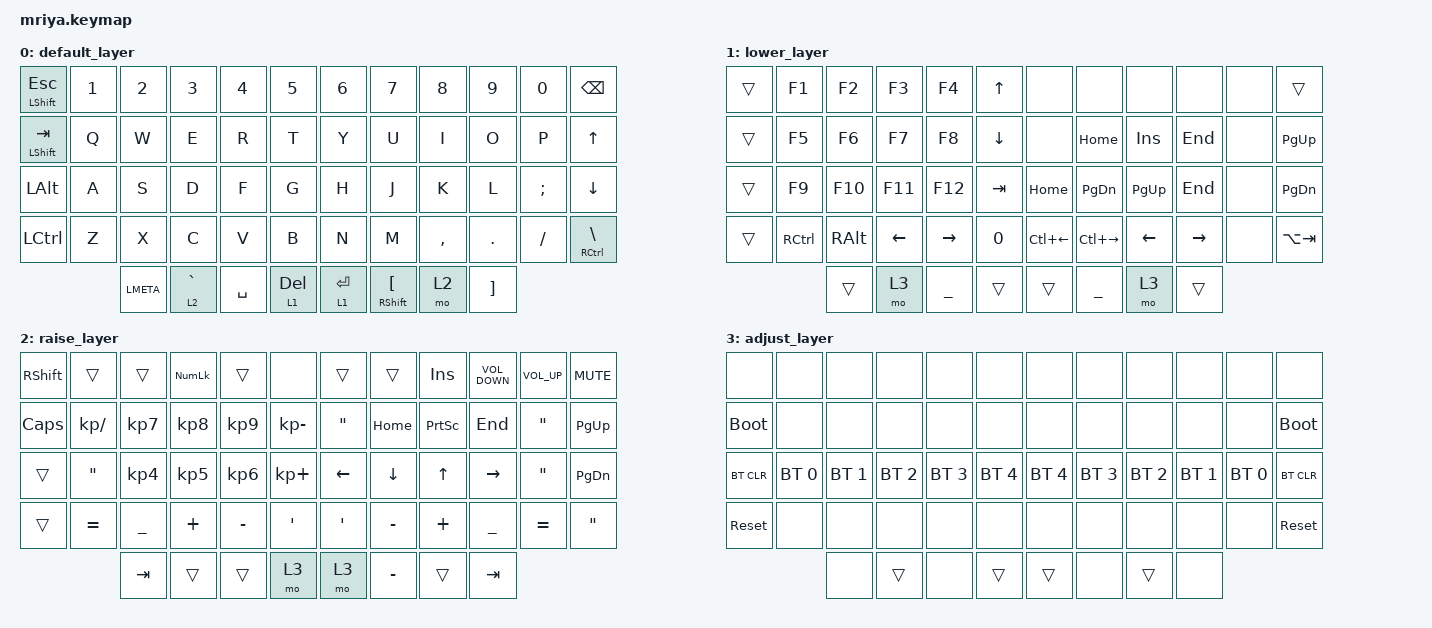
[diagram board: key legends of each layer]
/*
 * Copyright (c) 2023 Andrei Gaevskii
 *
 * SPDX-License-Identifier: MIT
 */

#include <behaviors.dtsi>
#include <dt-bindings/zmk/bt.h>
#include <dt-bindings/zmk/keys.h>

#define DEF 0
#define LWR 1
#define RSE 2
#define ADJ 3

&lt { quick_tap_ms = <200>; };

&mt { quick_tap_ms = <200>; };

/ {
    keymap {
        compatible = "zmk,keymap";

        default_layer {
            bindings = <
  &mt LEFT_SHIFT ESCAPE  &kp N1  &kp N2     &kp N3       &kp N4     &kp N5          &kp N6       &kp N7                        &kp N8     &kp N9             &kp N0    &kp BACKSPACE
  &mt LEFT_SHIFT TAB     &kp Q   &kp W      &kp E        &kp R      &kp T           &kp Y        &kp U                         &kp I      &kp O              &kp P     &kp UP
  &kp LEFT_ALT           &kp A   &kp S      &kp D        &kp F      &kp G           &kp H        &kp J                         &kp K      &kp L              &kp SEMI  &kp DOWN
  &kp LCTRL              &kp Z   &kp X      &kp C        &kp V      &kp B           &kp N        &kp M                         &kp COMMA  &kp DOT            &kp FSLH  &mt RCTRL BACKSLASH
                                 &kp LMETA  &lt 2 GRAVE  &kp SPACE  &lt 1 DELETE    &lt 1 ENTER  &mt RIGHT_SHIFT LEFT_BRACKET  &mo 2      &kp RIGHT_BRACKET
            >;
        };

        lower_layer {
            bindings = <
  &trans  &kp F1             &kp F2         &kp F3    &kp F4     &kp UP          &none         &none          &none        &none      &none  &trans
  &trans  &kp F5             &kp F6         &kp F7    &kp F8     &kp DOWN        &none         &kp HOME       &kp INS      &kp END    &none  &kp PAGE_UP
  &trans  &kp F9             &kp F10        &kp F11   &kp F12    &kp TAB         &kp HOME      &kp PAGE_DOWN  &kp PAGE_UP  &kp END    &none  &kp PAGE_DOWN
  &trans  &kp RIGHT_CONTROL  &kp RIGHT_ALT  &kp LEFT  &kp RIGHT  &kp NUMBER_0    &kp LC(LEFT)  &kp LC(RIGHT)  &kp LEFT     &kp RIGHT  &none  &kp LA(TAB)
                             &trans         &mo 3     &kp UNDER  &trans          &trans        &kp UNDER      &mo 3        &trans
            >;
        };

        raise_layer {
            bindings = <
  &kp RIGHT_SHIFT  &trans             &trans          &kp KP_NUMLOCK  &trans     &none             &trans             &trans     &kp INSERT  &kp C_VOLUME_DOWN  &kp C_VOLUME_UP    &kp K_MUTE
  &kp CAPSLOCK     &kp KP_SLASH       &kp KP_N7       &kp KP_N8       &kp KP_N9  &kp KP_MINUS      &kp DOUBLE_QUOTES  &kp HOME   &kp PSCRN   &kp END            &kp DOUBLE_QUOTES  &kp PG_UP
  &trans           &kp DOUBLE_QUOTES  &kp KP_N4       &kp KP_N5       &kp KP_N6  &kp KP_PLUS       &kp LEFT           &kp DOWN   &kp UP      &kp RIGHT          &kp DOUBLE_QUOTES  &kp PG_DN
  &trans           &kp EQUAL          &kp UNDERSCORE  &kp PLUS        &kp MINUS  &kp APOSTROPHE    &kp APOSTROPHE     &kp MINUS  &kp PLUS    &kp UNDERSCORE     &kp EQUAL          &kp DOUBLE_QUOTES
                                      &kp TAB         &trans          &trans     &mo 3             &mo 3              &kp MINUS  &trans      &kp TAB
            >;
        };

        adjust_layer {
            bindings = <
  &none        &none         &none         &none         &none         &none           &none         &none         &none         &none         &none         &none
  &bootloader  &none         &none         &none         &none         &none           &none         &none         &none         &none         &none         &bootloader
  &bt BT_CLR   &bt BT_SEL 0  &bt BT_SEL 1  &bt BT_SEL 2  &bt BT_SEL 3  &bt BT_SEL 4    &bt BT_SEL 4  &bt BT_SEL 3  &bt BT_SEL 2  &bt BT_SEL 1  &bt BT_SEL 0  &bt BT_CLR
  &sys_reset   &none         &none         &none         &none         &none           &none         &none         &none         &none         &none         &sys_reset
                             &none         &trans        &none         &trans          &trans        &none         &trans        &none
            >;
        };
    };
};
